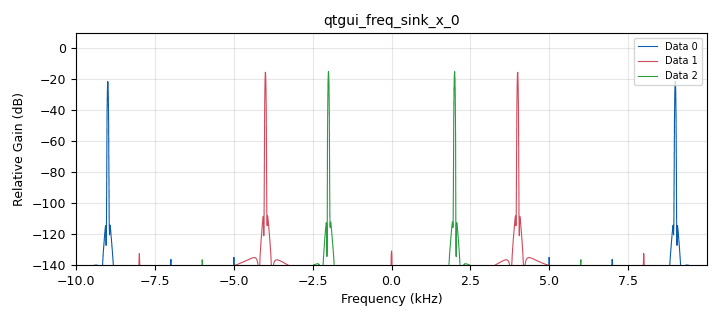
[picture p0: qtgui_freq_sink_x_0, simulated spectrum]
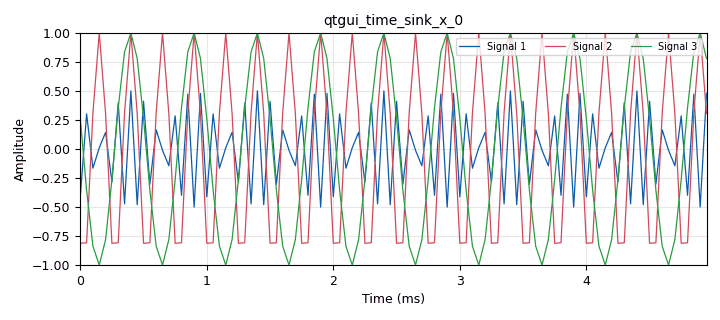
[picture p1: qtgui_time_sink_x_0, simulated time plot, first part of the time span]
options:
  parameters:
    generate_options: qt_gui
    id: punto2
    output_language: python
    title: punto2
  states: {}

blocks:
- name: samp_rate
  id: variable
  parameters:
    value: '106000'
  states: {state: disabled}
- name: samp_rate
  id: variable_qtgui_range
  parameters:
    start: '2000'
    step: '2000'
    stop: '106000'
    value: '20000'
  states: {}
- name: analog_sig_source_x_0
  id: analog_sig_source_x
  parameters:
    amp: '1'
    freq: '11000'
    offset: '0'
    phase: '0'
    samp_rate: samp_rate
    type: float
    waveform: analog.GR_COS_WAVE
  states: {}
- name: analog_sig_source_x_0_0
  id: analog_sig_source_x
  parameters:
    amp: '1'
    freq: '18000'
    offset: '0'
    phase: '0'
    samp_rate: samp_rate
    type: float
    waveform: analog.GR_COS_WAVE
  states: {}
- name: analog_sig_source_x_0_1
  id: analog_sig_source_x
  parameters:
    amp: '1'
    freq: '24000'
    offset: '0'
    phase: '0'
    samp_rate: samp_rate
    type: float
    waveform: analog.GR_COS_WAVE
  states: {}
- name: blocks_throttle_0
  id: blocks_throttle
  parameters:
    samples_per_second: samp_rate
    type: float
  states: {}
- name: qtgui_freq_sink_x_0
  id: qtgui_freq_sink_x
  parameters:
    bw: samp_rate
    fc: '0'
    fftsize: '2048'
    nconnections: '3'
    type: float
  states: {}
- name: qtgui_time_sink_x_0
  id: qtgui_time_sink_x
  parameters:
    nconnections: '3'
    size: '1024'
    srate: samp_rate
    type: float
  states: {}
- name: rational_resampler_xxx_0
  id: rational_resampler_xxx
  parameters:
    decim: '1'
    interp: '1'
    type: fff
  states: {}
- name: rational_resampler_xxx_0_0
  id: rational_resampler_xxx
  parameters:
    decim: '1'
    interp: '1'
    type: fff
  states: {}
- name: rational_resampler_xxx_0_1
  id: rational_resampler_xxx
  parameters:
    decim: '1'
    interp: '1'
    type: fff
  states: {}

connections:
- [analog_sig_source_x_0, '0', rational_resampler_xxx_0, '0']
- [analog_sig_source_x_0_0, '0', rational_resampler_xxx_0_0, '0']
- [analog_sig_source_x_0_1, '0', rational_resampler_xxx_0_1, '0']
- [blocks_throttle_0, '0', qtgui_freq_sink_x_0, '0']
- [blocks_throttle_0, '0', qtgui_time_sink_x_0, '0']
- [rational_resampler_xxx_0, '0', blocks_throttle_0, '0']
- [rational_resampler_xxx_0_0, '0', qtgui_freq_sink_x_0, '2']
- [rational_resampler_xxx_0_0, '0', qtgui_time_sink_x_0, '2']
- [rational_resampler_xxx_0_1, '0', qtgui_freq_sink_x_0, '1']
- [rational_resampler_xxx_0_1, '0', qtgui_time_sink_x_0, '1']

metadata:
  file_format: 1
